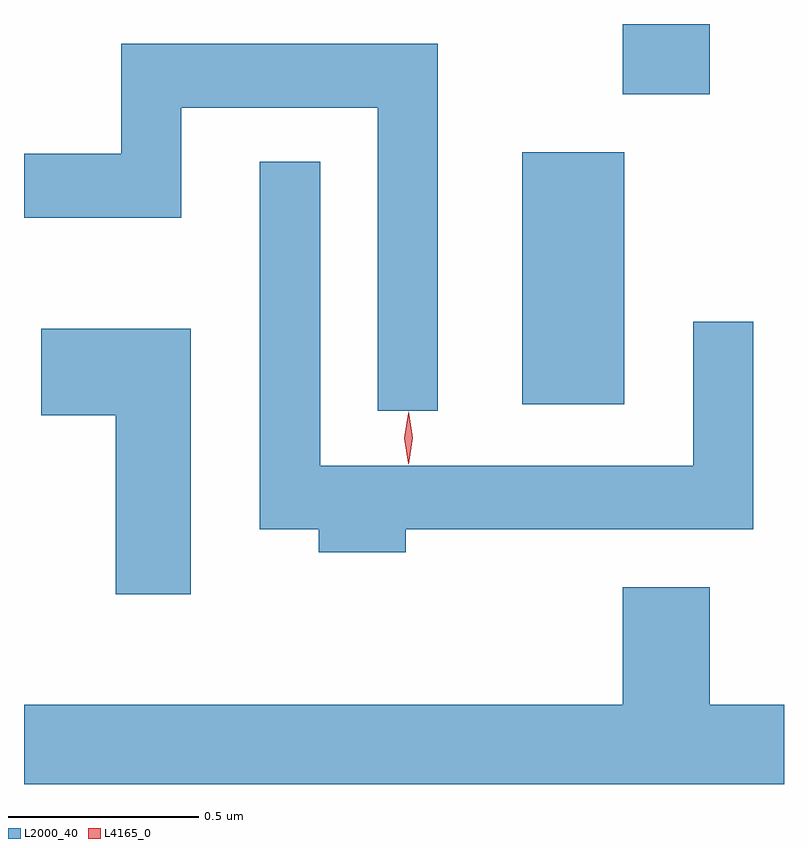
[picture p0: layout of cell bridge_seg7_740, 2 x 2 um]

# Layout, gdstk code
import gdstk
lib = gdstk.Library(unit=1e-6, precision=1e-09)
def R(c, l, rs):  # rectangles x0, y0, x1, y1
    for r in rs: c.add(gdstk.rectangle(r[:2], r[2:], *l))
def P(c, l, *ps):  # polygons
    for p in ps: c.add(gdstk.Polygon(p, *l))
L2000_40 = (2000, 40)
L4165_0 = (4165, 0)

bridge_seg7_740 = lib.new_cell('bridge_seg7_740')
R(bridge_seg7_740, L2000_40, [(608.196,1739.796,608.464,1740.459), (608.461,1740.611,608.689,1740.796)])
P(bridge_seg7_740, L2000_40, [(607.974,1740.744),(607.141,1740.744),(607.141,1740.454),(606.885,1740.454),(606.885,1740.286),(607.299,1740.286),(607.299,1740.576),(607.816,1740.576),(607.816,1739.778),(607.974,1739.778)],
  [(607.889,1739.466),(608.804,1739.466),(608.804,1740.013),(608.646,1740.013),(608.646,1739.634),(607.664,1739.634),(607.664,1740.433),(607.506,1740.433),(607.506,1739.466),(607.661,1739.466),(607.661,1739.406),(607.889,1739.406)],
  [(607.324,1739.994),(606.931,1739.994),(606.931,1739.766),(607.126,1739.766),(607.126,1739.296),(607.324,1739.296)],
  [(608.885,1739.004),(608.689,1739.004),(608.689,1739.314),(608.461,1739.314),(608.461,1739.004),(606.885,1739.004),(606.885,1738.796),(608.885,1738.796)])
P(bridge_seg7_740, L4165_0, [(607.897,1739.637),(607.888,1739.707),(607.897,1739.776),(607.898,1739.776),(607.898,1739.776),(607.908,1739.707),(607.898,1739.637),(607.898,1739.637)],
  [(607.896,1739.639),(607.896,1739.64),(607.886,1739.706),(607.896,1739.772),(607.896,1739.773),(607.897,1739.772),(607.906,1739.706),(607.897,1739.64)])

lib.write_gds('bridge_seg7_740.gds')
